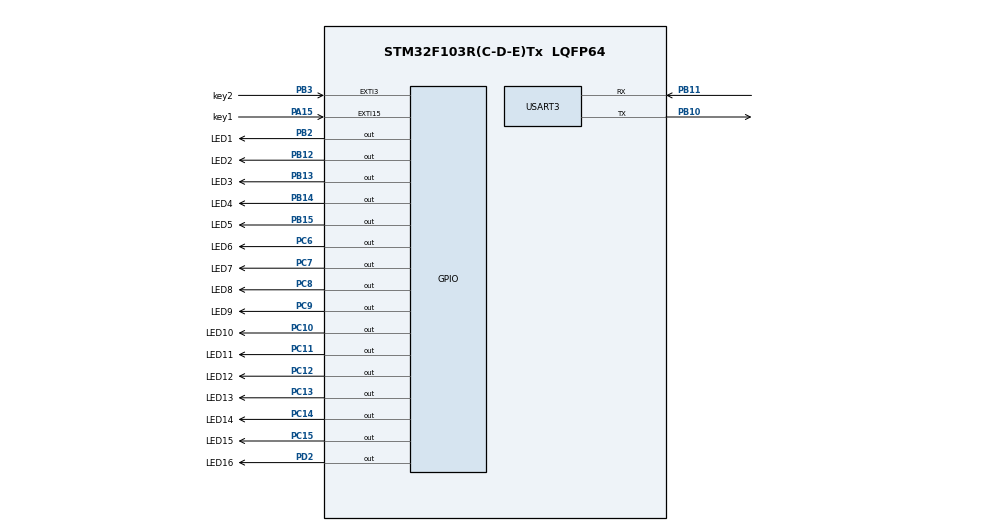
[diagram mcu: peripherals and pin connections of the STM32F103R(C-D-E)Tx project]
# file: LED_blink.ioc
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Dma.Request0=USART3_RX
Dma.Request1=USART3_TX
Dma.USART3_RX.0.Direction=DMA_PERIPH_TO_MEMORY
Dma.USART3_RX.0.Instance=DMA1_Channel3
Dma.USART3_RX.0.MemDataAlignment=DMA_MDATAALIGN_BYTE
Dma.USART3_RX.0.MemInc=DMA_MINC_ENABLE
Dma.USART3_RX.0.Mode=DMA_NORMAL
Dma.USART3_RX.0.PeriphDataAlignment=DMA_PDATAALIGN_BYTE
Dma.USART3_RX.0.PeriphInc=DMA_PINC_DISABLE
Dma.USART3_RX.0.Priority=DMA_PRIORITY_LOW
Dma.USART3_TX.1.Direction=DMA_MEMORY_TO_PERIPH
Dma.USART3_TX.1.Instance=DMA1_Channel2
Dma.USART3_TX.1.MemDataAlignment=DMA_MDATAALIGN_BYTE
Dma.USART3_TX.1.MemInc=DMA_MINC_ENABLE
Dma.USART3_TX.1.Mode=DMA_NORMAL
Dma.USART3_TX.1.PeriphDataAlignment=DMA_PDATAALIGN_BYTE
Dma.USART3_TX.1.PeriphInc=DMA_PINC_DISABLE
Dma.USART3_TX.1.Priority=DMA_PRIORITY_LOW
Mcu.Family=STM32F1
Mcu.Name=STM32F103R(C-D-E)Tx
Mcu.Package=LQFP64
NVIC.DMA1_Channel2_IRQn=true\:0\:0\:false\:false\:true\:false\:true
NVIC.DMA1_Channel3_IRQn=true\:0\:0\:false\:false\:true\:false\:true
NVIC.EXTI15_10_IRQn=true\:0\:0\:false\:false\:true\:true\:true
NVIC.EXTI3_IRQn=true\:0\:0\:false\:false\:true\:true\:true
NVIC.PriorityGroup=NVIC_PRIORITYGROUP_4
NVIC.TIM2_IRQn=true\:0\:0\:false\:false\:true\:true\:true
NVIC.USART3_IRQn=true\:0\:0\:false\:true\:true\:1\:true\:true
PA13.Mode=Serial_Wire
PA13.Signal=SYS_JTMS-SWDIO
PA14.Mode=Serial_Wire
PA14.Signal=SYS_JTCK-SWCLK
PA15.GPIO_Label=key1
PA15.GPIO_ModeDefaultEXTI=GPIO_MODE_IT_RISING
PA15.GPIO_PuPd=GPIO_PULLUP
PA15.Signal=GPXTI15
PB10.GPIO_Speed=GPIO_SPEED_FREQ_HIGH
PB10.Mode=Asynchronous
PB10.Signal=USART3_TX
PB11.Mode=Asynchronous
PB11.Signal=USART3_RX
PB12.GPIO_Label=LED2
PB12.Signal=GPIO_Output
PB13.GPIO_Label=LED3
PB13.Signal=GPIO_Output
PB14.GPIO_Label=LED4
PB14.Signal=GPIO_Output
PB15.GPIO_Label=LED5
PB15.Signal=GPIO_Output
PB2.GPIO_Label=LED1
PB2.Signal=GPIO_Output
PB3.GPIO_Label=key2
PB3.GPIO_ModeDefaultEXTI=GPIO_MODE_IT_RISING
PB3.GPIO_PuPd=GPIO_PULLUP
PB3.Signal=GPXTI3
PC10.GPIO_Label=LED10
PC10.Signal=GPIO_Output
PC11.GPIO_Label=LED11
PC11.Signal=GPIO_Output
PC12.GPIO_Label=LED12
PC12.Signal=GPIO_Output
PC13-TAMPER-RTC.GPIO_Label=LED13
PC13-TAMPER-RTC.Signal=GPIO_Output
PC14-OSC32_IN.GPIO_Label=LED14
PC14-OSC32_IN.Signal=GPIO_Output
PC15-OSC32_OUT.GPIO_Label=LED15
PC15-OSC32_OUT.Signal=GPIO_Output
PC6.GPIO_Label=LED6
PC6.Signal=GPIO_Output
PC7.GPIO_Label=LED7
PC7.Signal=GPIO_Output
PC8.GPIO_Label=LED8
PC8.Signal=GPIO_Output
PC9.GPIO_Label=LED9
PC9.Signal=GPIO_Output
PD0-OSC_IN.Mode=HSE-External-Oscillator
PD0-OSC_IN.Signal=RCC_OSC_IN
PD1-OSC_OUT.Mode=HSE-External-Oscillator
PD1-OSC_OUT.Signal=RCC_OSC_OUT
PD2.GPIO_Label=LED16
PD2.Signal=GPIO_Output
ProjectManager.HeapSize=0x200
ProjectManager.StackSize=0x400
ProjectManager.TargetToolchain=STM32CubeIDE
RCC.APB1Freq_Value=8000000
RCC.APB2Freq_Value=8000000
TIM2.Period=800
TIM2.Prescaler=35999
USART3.VirtualMode=VM_ASYNC
VP_TIM2_VS_ClockSourceINT.Mode=Internal
board=custom

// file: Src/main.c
/* USER CODE BEGIN Header */
/**
  ******************************************************************************
  * @file           : main.c
  * @brief          : Main program body
  ******************************************************************************
  * @attention
  *
  * <h2><center>&copy; Copyright (c) 2020 STMicroelectronics.
  * All rights reserved.</center></h2>
  *
  * This software component is licensed by ST under BSD 3-Clause license,
  * the "License"; You may not use this file except in compliance with the
  * License. You may obtain a copy of the License at:
  *                        opensource.org/licenses/BSD-3-Clause
  *
  ******************************************************************************
  */
/* USER CODE END Header */

#include "main.h"

TIM_HandleTypeDef htim2;

UART_HandleTypeDef huart3;
DMA_HandleTypeDef hdma_usart3_rx;
DMA_HandleTypeDef hdma_usart3_tx;

/* USER CODE BEGIN PV */
volatile uint8_t pressed1 = 0;//detect if key1 is pressed
volatile uint8_t pressed2 =0;//detect if key2 is pressed
volatile uint8_t state = 0;//record state to control LED blinking; 0: none, 1-4: each row of LED
uint8_t Enter[] = {0x0d,0x0a};
/* Buffer used for reception */
uint8_t uart3_read_buffers[8];
uint8_t uart3_read_cnt=0;
uint8_t uart3_conv;
uint8_t aRxBuffer[20];
uint8_t aTxStartMessage[] = "\r\n****UART-Hyperterminal communication based on IT ****\r\nEnter 10 characters using keyboard :\r\n";
/* USER CODE END PV */

void SystemClock_Config(void);
static void MX_GPIO_Init(void);
static void MX_DMA_Init(void);
static void MX_TIM2_Init(void);
static void MX_USART3_UART_Init(void);

int main(void)
{

  /* MCU Configuration--------------------------------------------------------*/

  /* Reset of all peripherals, Initializes the Flash interface and the Systick. */
  HAL_Init();

  /* Configure the system clock */
  SystemClock_Config();

  /* Initialize all configured peripherals */
  MX_GPIO_Init();
  MX_DMA_Init();
  MX_TIM2_Init();
  MX_USART3_UART_Init();

  /* Initialize interrupts */

  /* USER CODE BEGIN 2 */
  HAL_TIM_Base_Start_IT(&htim2);
  //HAL_UART_Receive_IT(&huart3, aRxBuffer, 8);
  HAL_UART_Receive_IT(&huart3, &uart3_conv,1);
  //HAL_UART_Transmit_IT(&huart3, (uint8_t *)aTxStartMessage, sizeof(aTxStartMessage));

  /* USER CODE END 2 */

  /* Infinite loop */
  while (1)
  {

    /* USER CODE BEGIN 3 */

	if(pressed2==1){//if key2 is pressed
		HAL_TIM_Base_Start_IT(&htim2);//start timer
		pressed2=0;//reset key2
	}

	if(pressed1==1){//if key2 is pressed
		state=0;//reset LED state, turn it off
		pressed1 = 0;//reset key1
	}

	/*detect state to change LED */
	switch(state){
		case 1:
			//LED row1 turn on
			HAL_GPIO_TogglePin(LED8_GPIO_Port, LED8_Pin);
			HAL_GPIO_WritePin(GPIOC, GPIO_PIN_8|GPIO_PIN_11|GPIO_PIN_15, GPIO_PIN_SET);
			HAL_GPIO_WritePin(GPIOB, GPIO_PIN_14, GPIO_PIN_SET);
			//LED row4 turn off
			HAL_GPIO_WritePin(GPIOC, GPIO_PIN_8|GPIO_PIN_11|GPIO_PIN_15, GPIO_PIN_RESET);
			HAL_GPIO_WritePin(GPIOB, GPIO_PIN_14, GPIO_PIN_RESET);
			break;

	  	case 2:
	  		//LED row2 turn on
	  		HAL_GPIO_WritePin(GPIOC, GPIO_PIN_9|GPIO_PIN_10, GPIO_PIN_SET);
	  		HAL_GPIO_WritePin(GPIOB, GPIO_PIN_15|GPIO_PIN_2, GPIO_PIN_SET);
	  		//LED row1 turn off
	  		HAL_GPIO_WritePin(GPIOC, GPIO_PIN_9|GPIO_PIN_10, GPIO_PIN_RESET);
	  		HAL_GPIO_WritePin(GPIOB, GPIO_PIN_15|GPIO_PIN_2, GPIO_PIN_RESET);
	  		break;
	  	case 3:
	  		//LED row3 turn on
	  		HAL_GPIO_WritePin(GPIOC, GPIO_PIN_6|GPIO_PIN_14, GPIO_PIN_SET);
	  		HAL_GPIO_WritePin(GPIOB, GPIO_PIN_12, GPIO_PIN_SET);
	  		HAL_GPIO_WritePin(GPIOD, GPIO_PIN_2, GPIO_PIN_SET);
	  		//LED row2 turn off
	  		HAL_GPIO_WritePin(GPIOC, GPIO_PIN_6|GPIO_PIN_14, GPIO_PIN_RESET);
	  		HAL_GPIO_WritePin(GPIOB, GPIO_PIN_12, GPIO_PIN_RESET);
	  		HAL_GPIO_WritePin(GPIOD, GPIO_PIN_2, GPIO_PIN_RESET);
	  		break;
	  	case 4:
	  		//LED row4 turn on
	  		HAL_GPIO_WritePin(GPIOC, GPIO_PIN_7|GPIO_PIN_13|GPIO_PIN_12, GPIO_PIN_SET);
	  		HAL_GPIO_WritePin(GPIOB, GPIO_PIN_13, GPIO_PIN_SET);
	  		//LED row3 turn off
	  		HAL_GPIO_WritePin(GPIOC, GPIO_PIN_7|GPIO_PIN_13|GPIO_PIN_12, GPIO_PIN_RESET);
	  		HAL_GPIO_WritePin(GPIOB, GPIO_PIN_13, GPIO_PIN_RESET);
	  		break;
	  	case 0:
	  		//all LED turn off
	  		HAL_GPIO_WritePin(GPIOC, GPIO_PIN_8|GPIO_PIN_11|GPIO_PIN_15, GPIO_PIN_RESET);
	  		HAL_GPIO_WritePin(GPIOB, GPIO_PIN_14, GPIO_PIN_RESET);
	  		HAL_GPIO_WritePin(GPIOC, GPIO_PIN_9|GPIO_PIN_10, GPIO_PIN_RESET);
	  		HAL_GPIO_WritePin(GPIOB, GPIO_PIN_15|GPIO_PIN_2, GPIO_PIN_RESET);
	  		HAL_GPIO_WritePin(GPIOC, GPIO_PIN_6|GPIO_PIN_14, GPIO_PIN_RESET);
	  		HAL_GPIO_WritePin(GPIOB, GPIO_PIN_12, GPIO_PIN_RESET);
	  		HAL_GPIO_WritePin(GPIOD, GPIO_PIN_2, GPIO_PIN_RESET);
	  		HAL_GPIO_WritePin(GPIOC, GPIO_PIN_7|GPIO_PIN_13|GPIO_PIN_12, GPIO_PIN_RESET);
	  		HAL_GPIO_WritePin(GPIOB, GPIO_PIN_13, GPIO_PIN_RESET);
	  		break;
	  	}
  }
  /* USER CODE END 3 */
}

void SystemClock_Config(void)
{
  RCC_OscInitTypeDef RCC_OscInitStruct = {0};
  RCC_ClkInitTypeDef RCC_ClkInitStruct = {0};

  /** Initializes the CPU, AHB and APB busses clocks
  */
  RCC_OscInitStruct.OscillatorType = RCC_OSCILLATORTYPE_HSI;
  RCC_OscInitStruct.HSIState = RCC_HSI_ON;
  RCC_OscInitStruct.HSICalibrationValue = RCC_HSICALIBRATION_DEFAULT;
  RCC_OscInitStruct.PLL.PLLState = RCC_PLL_NONE;
  if (HAL_RCC_OscConfig(&RCC_OscInitStruct) != HAL_OK)
  {
    Error_Handler();
  }
  /** Initializes the CPU, AHB and APB busses clocks
  */
  RCC_ClkInitStruct.ClockType = RCC_CLOCKTYPE_HCLK|RCC_CLOCKTYPE_SYSCLK
                              |RCC_CLOCKTYPE_PCLK1|RCC_CLOCKTYPE_PCLK2;
  RCC_ClkInitStruct.SYSCLKSource = RCC_SYSCLKSOURCE_HSI;
  RCC_ClkInitStruct.AHBCLKDivider = RCC_SYSCLK_DIV1;
  RCC_ClkInitStruct.APB1CLKDivider = RCC_HCLK_DIV1;
  RCC_ClkInitStruct.APB2CLKDivider = RCC_HCLK_DIV1;

  if (HAL_RCC_ClockConfig(&RCC_ClkInitStruct, FLASH_LATENCY_0) != HAL_OK)
  {
    Error_Handler();
  }
}

static void MX_TIM2_Init(void)
{

  TIM_ClockConfigTypeDef sClockSourceConfig = {0};
  TIM_MasterConfigTypeDef sMasterConfig = {0};

  htim2.Instance = TIM2;
  htim2.Init.Prescaler = 8;
  htim2.Init.CounterMode = TIM_COUNTERMODE_UP;
  htim2.Init.Period = 999;
  htim2.Init.ClockDivision = TIM_CLOCKDIVISION_DIV1;
  htim2.Init.RepetitionCounter = 0;
  htim2.Init.AutoReloadPreload = TIM_AUTORELOAD_PRELOAD_ENABLE;
  if (HAL_TIM_Base_Init(&htim2) != HAL_OK)
  {
    Error_Handler();
  }
  sClockSourceConfig.ClockSource = TIM_CLOCKSOURCE_INTERNAL;
  if (HAL_TIM_ConfigClockSource(&htim2, &sClockSourceConfig) != HAL_OK)
  {
    Error_Handler();
  }
  sMasterConfig.MasterOutputTrigger = TIM_TRGO_RESET;
  sMasterConfig.MasterSlaveMode = TIM_MASTERSLAVEMODE_DISABLE;
  if (HAL_TIMEx_MasterConfigSynchronization(&htim2, &sMasterConfig) != HAL_OK)
  {
    Error_Handler();
  }

}

static void MX_USART3_UART_Init(void)
{

  huart3.Instance = USART3;
  huart3.Init.BaudRate = 115200;
  huart3.Init.WordLength = UART_WORDLENGTH_8B;
  huart3.Init.StopBits = UART_STOPBITS_1;
  huart3.Init.Parity = UART_PARITY_NONE;
  huart3.Init.Mode = UART_MODE_TX_RX;
  huart3.Init.HwFlowCtl = UART_HWCONTROL_NONE;
  huart3.Init.OverSampling = UART_OVERSAMPLING_16;
  if (HAL_UART_Init(&huart3) != HAL_OK)
  {
    Error_Handler();
  }

}

static void MX_DMA_Init(void)
{

  /* DMA controller clock enable */
  __HAL_RCC_DMA1_CLK_ENABLE();

  /* DMA interrupt init */
  /* DMA1_Channel2_IRQn interrupt configuration */
  HAL_NVIC_SetPriority(DMA1_Channel2_IRQn, 0, 0);
  HAL_NVIC_EnableIRQ(DMA1_Channel2_IRQn);
  /* DMA1_Channel3_IRQn interrupt configuration */
  HAL_NVIC_SetPriority(DMA1_Channel3_IRQn, 0, 0);
  HAL_NVIC_EnableIRQ(DMA1_Channel3_IRQn);

}

static void MX_GPIO_Init(void)
{
  GPIO_InitTypeDef GPIO_InitStruct = {0};

  /* GPIO Ports Clock Enable */
  __HAL_RCC_GPIOC_CLK_ENABLE();
  __HAL_RCC_GPIOD_CLK_ENABLE();
  __HAL_RCC_GPIOB_CLK_ENABLE();
  __HAL_RCC_GPIOA_CLK_ENABLE();

  /*Configure GPIO pin Output Level */
  HAL_GPIO_WritePin(GPIOC, LED13_Pin|LED14_Pin|LED15_Pin|LED6_Pin
                          |LED7_Pin|LED8_Pin|LED9_Pin|LED10_Pin
                          |LED11_Pin|LED12_Pin, GPIO_PIN_RESET);

  /*Configure GPIO pin Output Level */
  HAL_GPIO_WritePin(GPIOB, LED1_Pin|LED2_Pin|LED3_Pin|LED4_Pin
                          |LED5_Pin, GPIO_PIN_RESET);

  /*Configure GPIO pin Output Level */
  HAL_GPIO_WritePin(LED16_GPIO_Port, LED16_Pin, GPIO_PIN_RESET);

  /*Configure GPIO pins : LED13_Pin LED14_Pin LED15_Pin LED6_Pin
                           LED7_Pin LED8_Pin LED9_Pin LED10_Pin
                           LED11_Pin LED12_Pin */
  GPIO_InitStruct.Pin = LED13_Pin|LED14_Pin|LED15_Pin|LED6_Pin
                          |LED7_Pin|LED8_Pin|LED9_Pin|LED10_Pin
                          |LED11_Pin|LED12_Pin;
  GPIO_InitStruct.Mode = GPIO_MODE_OUTPUT_PP;
  GPIO_InitStruct.Pull = GPIO_NOPULL;
  GPIO_InitStruct.Speed = GPIO_SPEED_FREQ_LOW;
  HAL_GPIO_Init(GPIOC, &GPIO_InitStruct);

  /*Configure GPIO pins : LED1_Pin LED2_Pin LED3_Pin LED4_Pin
                           LED5_Pin */
  GPIO_InitStruct.Pin = LED1_Pin|LED2_Pin|LED3_Pin|LED4_Pin
                          |LED5_Pin;
  GPIO_InitStruct.Mode = GPIO_MODE_OUTPUT_PP;
  GPIO_InitStruct.Pull = GPIO_NOPULL;
  GPIO_InitStruct.Speed = GPIO_SPEED_FREQ_LOW;
  HAL_GPIO_Init(GPIOB, &GPIO_InitStruct);

  /*Configure GPIO pin : key1_Pin */
  GPIO_InitStruct.Pin = key1_Pin;
  GPIO_InitStruct.Mode = GPIO_MODE_IT_RISING;
  GPIO_InitStruct.Pull = GPIO_PULLUP;
  HAL_GPIO_Init(key1_GPIO_Port, &GPIO_InitStruct);

  /*Configure GPIO pin : LED16_Pin */
  GPIO_InitStruct.Pin = LED16_Pin;
  GPIO_InitStruct.Mode = GPIO_MODE_OUTPUT_PP;
  GPIO_InitStruct.Pull = GPIO_NOPULL;
  GPIO_InitStruct.Speed = GPIO_SPEED_FREQ_LOW;
  HAL_GPIO_Init(LED16_GPIO_Port, &GPIO_InitStruct);

  /*Configure GPIO pin : key2_Pin */
  GPIO_InitStruct.Pin = key2_Pin;
  GPIO_InitStruct.Mode = GPIO_MODE_IT_RISING;
  GPIO_InitStruct.Pull = GPIO_PULLUP;
  HAL_GPIO_Init(key2_GPIO_Port, &GPIO_InitStruct);

  /* EXTI interrupt init*/
  HAL_NVIC_SetPriority(EXTI3_IRQn, 0, 0);
  HAL_NVIC_EnableIRQ(EXTI3_IRQn);

  HAL_NVIC_SetPriority(EXTI15_10_IRQn, 0, 0);
  HAL_NVIC_EnableIRQ(EXTI15_10_IRQn);

}

/* USER CODE BEGIN 4 */
//after pressed, turn on timer
void HAL_TIM_PeriodElapsedCallback(TIM_HandleTypeDef *htim){
	if(htim->Instance==TIM2){//if timer source is tim2

		state++;//increase state one by one, makes row blink one by one
		if(state>=5)
			state=1;//repeat LED state

	}
}
void HAL_UART_RxCpltCallback(UART_HandleTypeDef *huart)
{
/* Prevent unused argument(s) compilation warning */
	UNUSED(huart);//reset
/* NOTE : This function should not be modified, when the callback is needed,the HAL_UART_RxCpltCallback can be implemented in the user file*/
	UNUSED(huart);
	uart3_read_buffers[uart3_read_cnt]=uart3_conv;
	uart3_read_cnt++;
	HAL_UART_Receive_IT (&huart3,&uart3_conv,1);
	if (uart3_conv==0x0a){
		HAL_UART_Transmit_IT (&huart3,uart3_read_buffers,uart3_read_cnt);
		 uart3_read_cnt=0;
	}
}

/* USER CODE END 4 */

void Error_Handler(void)
{
}

/************************ (C) COPYRIGHT STMicroelectronics *****END OF FILE****/
